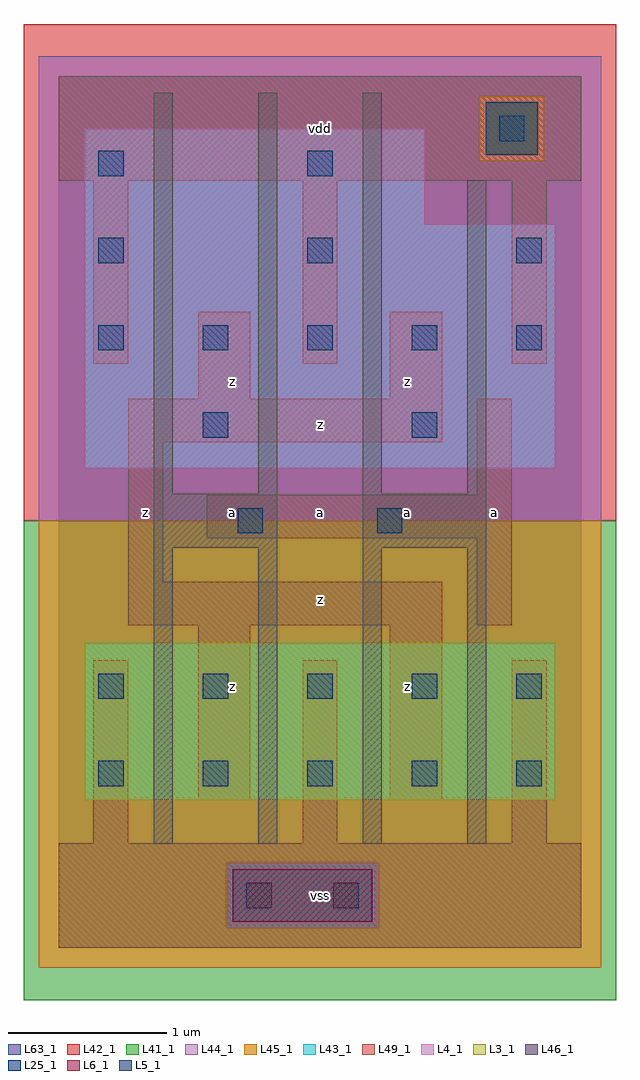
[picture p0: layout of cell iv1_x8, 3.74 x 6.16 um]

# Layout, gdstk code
import gdstk
lib = gdstk.Library(unit=1e-6, precision=1e-09)
def R(c, l, rs):  # rectangles x0, y0, x1, y1
    for r in rs: c.add(gdstk.rectangle(r[:2], r[2:], *l))
def A(c, l, x, y, w, h, nx, ny, dx, dy):  # array of equal rectangles
    R(c, l, [(x+i*dx, y+j*dy, x+i*dx+w, y+j*dy+h) for i in range(nx) for j in range(ny)])
L3_1 = (3, 1)
L4_1 = (4, 1)
L5_1 = (5, 1)
L6_1 = (6, 1)
L25_1 = (25, 1)
L41_1 = (41, 1)
L42_1 = (42, 1)
L43_1 = (43, 1)
L44_1 = (44, 1)
L45_1 = (45, 1)
L46_1 = (46, 1)
L49_1 = (49, 1)
L63_1 = (63, 1)

iv1_x8 = lib.new_cell('iv1_x8')
R(iv1_x8, L3_1, [(0.165,0.935,3.135,1.925)])
R(iv1_x8, L4_1, [(0.165,3.025,3.135,4.565), (0.165,4.565,2.31,5.17)])
R(iv1_x8, L5_1, [(2.695,5.005,3.025,5.335)])
R(iv1_x8, L6_1, [(1.1,0.165,1.98,0.495)])
A(iv1_x8, L25_1, 0.25, 1.02, 0.16, 0.16, 5, 2, 0.66, 0.55)
A(iv1_x8, L25_1, 0.25, 3.77, 0.16, 0.16, 5, 1, 0.66, 0)
A(iv1_x8, L25_1, 0.25, 4.32, 0.16, 0.16, 3, 1, 1.32, 0)
R(iv1_x8, L25_1, [(1.185,0.25,1.345,0.41), (1.735,0.25,1.895,0.41), (1.13,2.615,1.29,2.775), (2.01,2.615,2.17,2.775), (0.91,3.22,1.07,3.38), (2.23,3.22,2.39,3.38), (0.25,4.87,0.41,5.03), (1.57,4.87,1.73,5.03), (2.78,5.09,2.94,5.25)])
R(iv1_x8, L41_1, [(-0.22,-0.33,3.52,2.695)])
R(iv1_x8, L42_1, [(-0.22,2.695,3.52,5.83)])
R(iv1_x8, L43_1, [(1.1,0.165,1.98,0.495), (0.165,0.935,3.135,1.925), (0.165,3.025,3.135,4.565), (0.165,4.565,2.31,5.17), (2.695,5.005,3.025,5.335)])
R(iv1_x8, L44_1, [(1.06,0.125,2.02,0.535), (-0.125,2.695,3.425,4.965), (-0.125,4.965,2.655,5.375), (3.065,4.965,3.425,5.375), (-0.125,5.375,3.425,5.625)])
R(iv1_x8, L45_1, [(-0.125,-0.125,3.425,0.125), (-0.125,0.125,1.06,0.535), (2.02,0.125,3.425,0.535), (-0.125,0.535,3.425,2.695), (2.655,4.965,3.065,5.375)])
A(iv1_x8, L46_1, 0.6, 0.655, 0.12, 1.87, 4, 1, 0.66, 0)
A(iv1_x8, L46_1, 0.6, 2.865, 0.12, 2.53, 3, 1, 0.66, 0)
R(iv1_x8, L46_1, [(0.6,2.525,1.38,2.865), (1.92,2.525,2.7,2.865), (2.58,2.865,2.7,4.845)])
A(iv1_x8, L49_1, 0.22, 0.66, 0.22, 1.155, 3, 2, 1.32, 3.025)
R(iv1_x8, L49_1, [(0,0,3.3,0.66), (0.88,0.935,1.21,2.035), (2.09,0.935,2.42,2.035), (0.44,2.035,2.42,2.31), (2.64,2.035,2.86,2.585), (0.44,2.31,0.66,3.19), (0.935,2.585,2.86,2.86), (2.64,2.86,2.86,3.465), (0.44,3.19,2.42,3.465), (0.88,3.465,1.21,4.015), (2.09,3.465,2.42,4.015), (0,4.84,3.3,5.5)])
R(iv1_x8, L63_1, [(0,0,3.3,5.5)])
iv1_x8.add(gdstk.Label('z', (1.1,1.65), layer=49, texttype=1))
iv1_x8.add(gdstk.Label('z', (1.1,1.65), layer=49, texttype=1))
iv1_x8.add(gdstk.Label('z', (0.55,2.75), layer=49, texttype=1))
iv1_x8.add(gdstk.Label('z', (0.55,2.75), layer=49, texttype=1))
iv1_x8.add(gdstk.Label('a', (1.1,2.75), layer=49, texttype=1))
iv1_x8.add(gdstk.Label('a', (1.1,2.75), layer=49, texttype=1))
iv1_x8.add(gdstk.Label('z', (1.1,3.575), layer=49, texttype=1))
iv1_x8.add(gdstk.Label('z', (1.1,3.575), layer=49, texttype=1))
iv1_x8.add(gdstk.Label('vss', (1.65,0.33), layer=49, texttype=1))
iv1_x8.add(gdstk.Label('vss', (1.65,0.33), layer=49, texttype=1))
iv1_x8.add(gdstk.Label('z', (1.65,2.2), layer=49, texttype=1))
iv1_x8.add(gdstk.Label('z', (1.65,2.2), layer=49, texttype=1))
iv1_x8.add(gdstk.Label('a', (1.65,2.75), layer=49, texttype=1))
iv1_x8.add(gdstk.Label('a', (1.65,2.75), layer=49, texttype=1))
iv1_x8.add(gdstk.Label('z', (1.65,3.3), layer=49, texttype=1))
iv1_x8.add(gdstk.Label('z', (1.65,3.3), layer=49, texttype=1))
iv1_x8.add(gdstk.Label('vdd', (1.65,5.17), layer=49, texttype=1))
iv1_x8.add(gdstk.Label('vdd', (1.65,5.17), layer=49, texttype=1))
iv1_x8.add(gdstk.Label('z', (2.2,1.65), layer=49, texttype=1))
iv1_x8.add(gdstk.Label('z', (2.2,1.65), layer=49, texttype=1))
iv1_x8.add(gdstk.Label('a', (2.2,2.75), layer=49, texttype=1))
iv1_x8.add(gdstk.Label('a', (2.2,2.75), layer=49, texttype=1))
iv1_x8.add(gdstk.Label('z', (2.2,3.575), layer=49, texttype=1))
iv1_x8.add(gdstk.Label('z', (2.2,3.575), layer=49, texttype=1))
iv1_x8.add(gdstk.Label('a', (2.75,2.75), layer=49, texttype=1))
iv1_x8.add(gdstk.Label('a', (2.75,2.75), layer=49, texttype=1))

lib.write_gds('iv1_x8.gds')
